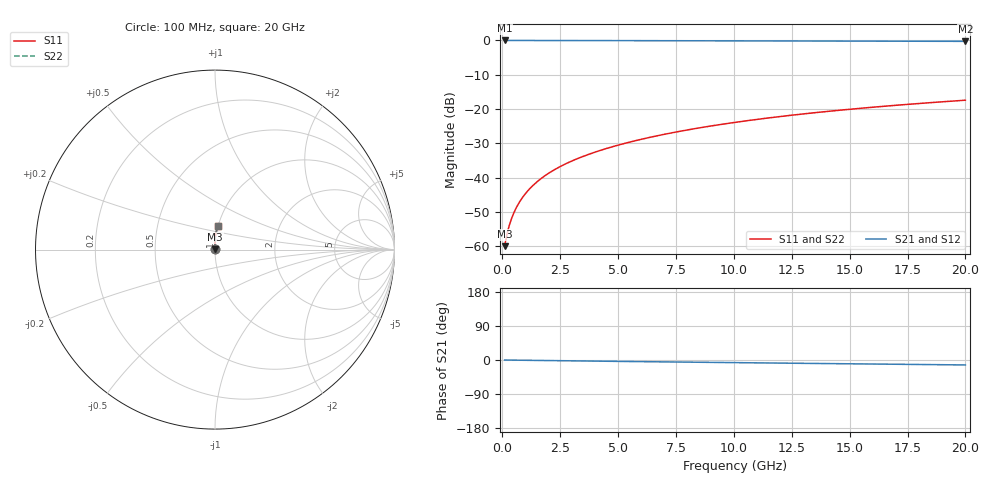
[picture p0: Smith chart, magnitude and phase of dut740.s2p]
! Touchstone file exported from HFSS 2024.1.0
!  File:  C:/UserFiles/LocalFiles/RDL_TSV_Batchsim/temp_RDL_top_740_1779851419.aedt
!  Generated:  11:12:28 AM May 27, 2026
!  Design:  RDL_top
!  Project:  temp_RDL_top_740_1779851419
!  Setup:  Setup1
!  Solution:  Sweep
! Variables:
!  dtsv = 10.80580581um
!  hbump = 3um
!  htsv = 54.11um
!  ldown = 100um
!  lrdl = 175.35um
!  p = 40
!  p1 = 43.74um
!  rhole = 1um
!  t = 450um
!  tdown = 3.915915916um
!  trdl = 4.68um
!  wdown = 15.38538539um
!  wrdl = 21.86um
# GHz S MA R 50.000000
! Terminal data exported
! Port[1] = Box2_T1
! Port[2] = Box2_T2
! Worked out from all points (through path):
!   200 points, 100 MHz to 20 GHz, reference 50 ohm
!   highest |S21| = -0.01 dB at 100 MHz (marker M1); lowest = -0.3 dB at 20 GHz (marker M2)
!   group delay of S21, straight-line fit = 1.79 ps
!   lowest |S11| = -60.0 dB at 100 MHz (marker M3), VSWR 1.00, Z = 50.1 + j0.0639 ohm
!   |S11| at or under -10 dB: start of sweep to end of sweep
!   |S22| runs from -60.0 to -17.4 dB; largest |S21 - S12| = 3.9e-15
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0.1  0.001003 39.5  0.9992 -0.1  0.9992 -0.1  0.001003 39.5
! Gamma 0 0 0 0
! Port Impedance 50 0 50 0
0.2  0.001486 56.5  0.9992 -0.2  0.9992 -0.2  0.001486 56.5
0.3  0.002006 64.8  0.9991 -0.2  0.9991 -0.2  0.002006 64.8
0.4  0.002536 69.8  0.9991 -0.3  0.9991 -0.3  0.002536 69.8
0.5  0.003075 73.2  0.999 -0.4  0.999 -0.4  0.003075 73.2
0.6  0.003622 75.8  0.999 -0.5  0.999 -0.5  0.003622 75.8
0.8  0.004731 79.2  0.9989 -0.6  0.9989 -0.6  0.004731 79.2
1.1  0.00642 82.3  0.9987 -0.8  0.9987 -0.8  0.00642 82.3
1.5  0.008701 84.6  0.9985 -1.1  0.9985 -1.1  0.008701 84.6
1.8  0.01043 85.8  0.9982 -1.4  0.9982 -1.4  0.01043 85.8
2.1  0.01217 86.7  0.9979 -1.6  0.9979 -1.6  0.01217 86.7
2.7  0.01569 87.9  0.9973 -2.0  0.9973 -2.0  0.01569 87.9
3.5  0.02047 89.0  0.9962 -2.6  0.9962 -2.6  0.02047 89.0
4.2  0.02475 89.6  0.9952 -3.1  0.9952 -3.1  0.02476 89.7
5  0.02977 90.1  0.9939 -3.7  0.9939 -3.7  0.02977 90.1
5.9  0.03557 90.4  0.9923 -4.3  0.9923 -4.3  0.03557 90.4
6.8  0.04152 90.4  0.9907 -4.9  0.9907 -4.9  0.04152 90.4
8.4  0.05241 90.1  0.9879 -5.9  0.9879 -5.9  0.05241 90.1
10.1  0.06429 89.3  0.9851 -7.0  0.9851 -7.0  0.06429 89.4
13.4  0.08779 87.2  0.9798 -9.0  0.9798 -9.0  0.08779 87.3
16.7  0.1113 84.8  0.9748 -11.1  0.9748 -11.1  0.1113 84.8
20  0.1346 82.4  0.9699 -13.0  0.9699 -13.0  0.1346 82.4
